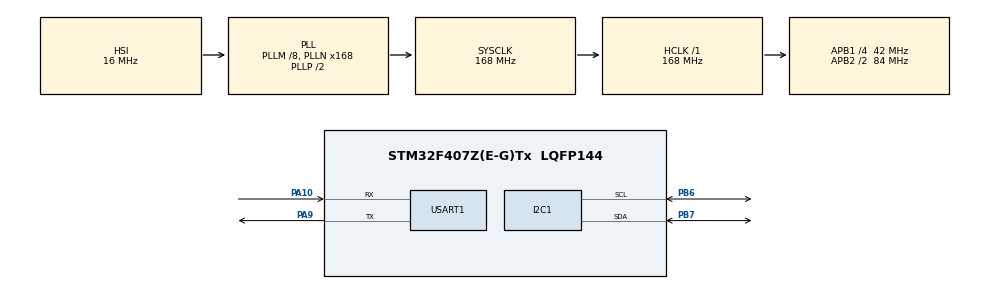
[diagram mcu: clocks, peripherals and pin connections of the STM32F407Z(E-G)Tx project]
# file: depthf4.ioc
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Dma.Request0=USART1_RX
Dma.Request1=USART1_TX
Dma.USART1_RX.0.Direction=DMA_PERIPH_TO_MEMORY
Dma.USART1_RX.0.FIFOMode=DMA_FIFOMODE_DISABLE
Dma.USART1_RX.0.Instance=DMA2_Stream2
Dma.USART1_RX.0.MemDataAlignment=DMA_MDATAALIGN_BYTE
Dma.USART1_RX.0.MemInc=DMA_MINC_ENABLE
Dma.USART1_RX.0.Mode=DMA_NORMAL
Dma.USART1_RX.0.PeriphDataAlignment=DMA_PDATAALIGN_BYTE
Dma.USART1_RX.0.PeriphInc=DMA_PINC_DISABLE
Dma.USART1_RX.0.Priority=DMA_PRIORITY_LOW
Dma.USART1_TX.1.Direction=DMA_MEMORY_TO_PERIPH
Dma.USART1_TX.1.FIFOMode=DMA_FIFOMODE_DISABLE
Dma.USART1_TX.1.Instance=DMA2_Stream7
Dma.USART1_TX.1.MemDataAlignment=DMA_MDATAALIGN_BYTE
Dma.USART1_TX.1.MemInc=DMA_MINC_ENABLE
Dma.USART1_TX.1.Mode=DMA_NORMAL
Dma.USART1_TX.1.PeriphDataAlignment=DMA_PDATAALIGN_BYTE
Dma.USART1_TX.1.PeriphInc=DMA_PINC_DISABLE
Dma.USART1_TX.1.Priority=DMA_PRIORITY_LOW
Mcu.Family=STM32F4
Mcu.Name=STM32F407Z(E-G)Tx
Mcu.Package=LQFP144
NVIC.DMA2_Stream2_IRQn=true\:0\:0\:false\:false\:true\:false\:true\:true
NVIC.DMA2_Stream7_IRQn=true\:0\:0\:false\:false\:true\:false\:true\:true
NVIC.PriorityGroup=NVIC_PRIORITYGROUP_4
NVIC.USART1_IRQn=true\:0\:0\:false\:false\:true\:true\:true\:true
PA10.Mode=Asynchronous
PA10.Signal=USART1_RX
PA13.Mode=Serial_Wire
PA13.Signal=SYS_JTMS-SWDIO
PA14.Mode=Serial_Wire
PA14.Signal=SYS_JTCK-SWCLK
PA9.Mode=Asynchronous
PA9.Signal=USART1_TX
PB6.Mode=I2C
PB6.Signal=I2C1_SCL
PB7.Mode=I2C
PB7.Signal=I2C1_SDA
ProjectManager.HeapSize=0x200
ProjectManager.StackSize=0x400
ProjectManager.TargetToolchain=STM32CubeIDE
RCC.48MHZClocksFreq_Value=84000000
RCC.AHBFreq_Value=168000000
RCC.APB1CLKDivider=RCC_HCLK_DIV4
RCC.APB1Freq_Value=42000000
RCC.APB1TimFreq_Value=84000000
RCC.APB2CLKDivider=RCC_HCLK_DIV2
RCC.APB2Freq_Value=84000000
RCC.APB2TimFreq_Value=168000000
RCC.CortexFreq_Value=168000000
RCC.HCLKFreq_Value=168000000
RCC.HSE_VALUE=25000000
RCC.HSI_VALUE=16000000
RCC.LSE_VALUE=32768
RCC.PLLM=8
RCC.PLLN=168
RCC.SYSCLKFreq_VALUE=168000000
RCC.SYSCLKSource=RCC_SYSCLKSOURCE_PLLCLK
RCC.VCOOutputFreq_Value=336000000
USART1.VirtualMode=VM_ASYNC
board=custom

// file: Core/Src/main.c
/* USER CODE BEGIN Header */
/**
  ******************************************************************************
  * @file           : main.c
  * @brief          : Main program body
  ******************************************************************************
  * @attention
  *
  * Copyright (c) 2026 STMicroelectronics.
  * All rights reserved.
  *
  * This software is licensed under terms that can be found in the LICENSE file
  * in the root directory of this software component.
  * If no LICENSE file comes with this software, it is provided AS-IS.
  *
  ******************************************************************************
  */
/* USER CODE END Header */
#include "main.h"
#include "dma.h"
#include "i2c.h"
#include "usart.h"
#include "gpio.h"

/* USER CODE BEGIN Includes */
#include "ms5837.h"
#include <stdio.h>
/* USER CODE END Includes */

/* USER CODE BEGIN PD */
#define MS5837_REFERENCE_SAMPLES 10U
#define MS5837_OUTPUT_INTERVAL_MS 1000U
#define MS5837_UART_TIMEOUT_MS 100U
/* USER CODE END PD */

void SystemClock_Config(void);

int main(void)
{

  /* MCU Configuration--------------------------------------------------------*/

  /* Reset of all peripherals, Initializes the Flash interface and the Systick. */
  HAL_Init();

  /* Configure the system clock */
  SystemClock_Config();

  /* Initialize all configured peripherals */
  MX_GPIO_Init();
  MX_DMA_Init();
  MX_I2C1_Init();
  MX_USART1_UART_Init();
  /* USER CODE BEGIN 2 */
  uint16_t prom[7] = {0};
  int32_t reference_x100 = 0;
  HAL_StatusTypeDef init_status = MS5837_Init(&hi2c1, prom);
  HAL_StatusTypeDef reference_status = HAL_ERROR;
  char init_buffer[64];
  int init_length;

  if (init_status != HAL_OK)
  {
    init_length = snprintf(
        init_buffer, sizeof(init_buffer),
        "MS5837 INIT status=%u\r\n", (unsigned int)init_status);

    if (init_length > 0 && init_length < (int)sizeof(init_buffer))
    {
      HAL_UART_Transmit(&huart1, (uint8_t *)init_buffer,
                        (uint16_t)init_length, MS5837_UART_TIMEOUT_MS);
    }
  }
  else
  {
    /* Keep the sensor in air during startup: this pressure becomes zero depth. */
    HAL_Delay(1000);
    reference_status = MS5837_ReadReference(
        &hi2c1, prom, MS5837_REFERENCE_SAMPLES, &reference_x100);

    if (reference_status != HAL_OK)
    {
      init_length = snprintf(
          init_buffer, sizeof(init_buffer),
          "MS5837 REF status=%u REF_x100=%ld\r\n",
          (unsigned int)reference_status, (long)reference_x100);

      if (init_length > 0 && init_length < (int)sizeof(init_buffer))
      {
        HAL_UART_Transmit(&huart1, (uint8_t *)init_buffer,
                          (uint16_t)init_length, MS5837_UART_TIMEOUT_MS);
      }
    }
  }
  /* USER CODE END 2 */

  /* Infinite loop */
  /* USER CODE BEGIN WHILE */
  while (1)
  {
    char buffer[96];
    int length;

    if (init_status == HAL_OK && reference_status == HAL_OK)
    {
      uint32_t d1 = 0;
      uint32_t d2 = 0;
      int32_t temperature_x100 = 0;
      int32_t pressure_x100 = 0;

      HAL_StatusTypeDef read_status = MS5837_Read(
          &hi2c1, prom, &d1, &d2, &temperature_x100, &pressure_x100);

      if (read_status == HAL_OK)
      {
        int32_t depth_cm_x100 = MS5837_CalculateDepth(
            pressure_x100, reference_x100);

        /* Px100: mbar * 100 (Pa); Dx100: cm * 100. */
        length = snprintf(
            buffer, sizeof(buffer), "Px100=%ld Dx100=%ld\r\n",
            (long)pressure_x100, (long)depth_cm_x100);
      }
      else
      {
        length = snprintf(
            buffer, sizeof(buffer), "MS5837 READ FAIL status=%u\r\n",
            (unsigned int)read_status);
      }
    }
    else
    {
      length = snprintf(
          buffer, sizeof(buffer), "NOT READY init=%u ref=%u\r\n",
          (unsigned int)init_status, (unsigned int)reference_status);
    }

    if (length > 0 && length < (int)sizeof(buffer))
    {
      /* Blocking transmission, even though USART1 DMA is configured. */
      HAL_UART_Transmit(&huart1, (uint8_t *)buffer,
                        (uint16_t)length, MS5837_UART_TIMEOUT_MS);
    }

    HAL_Delay(MS5837_OUTPUT_INTERVAL_MS);
    /* USER CODE END WHILE */

  }
}

void SystemClock_Config(void)
{
  RCC_OscInitTypeDef RCC_OscInitStruct = {0};
  RCC_ClkInitTypeDef RCC_ClkInitStruct = {0};

  /** Configure the main internal regulator output voltage
  */
  __HAL_RCC_PWR_CLK_ENABLE();
  __HAL_PWR_VOLTAGESCALING_CONFIG(PWR_REGULATOR_VOLTAGE_SCALE1);

  /** Initializes the RCC Oscillators according to the specified parameters
  * in the RCC_OscInitTypeDef structure.
  */
  RCC_OscInitStruct.OscillatorType = RCC_OSCILLATORTYPE_HSI;
  RCC_OscInitStruct.HSIState = RCC_HSI_ON;
  RCC_OscInitStruct.HSICalibrationValue = RCC_HSICALIBRATION_DEFAULT;
  RCC_OscInitStruct.PLL.PLLState = RCC_PLL_ON;
  RCC_OscInitStruct.PLL.PLLSource = RCC_PLLSOURCE_HSI;
  RCC_OscInitStruct.PLL.PLLM = 8;
  RCC_OscInitStruct.PLL.PLLN = 168;
  RCC_OscInitStruct.PLL.PLLP = RCC_PLLP_DIV2;
  RCC_OscInitStruct.PLL.PLLQ = 4;
  if (HAL_RCC_OscConfig(&RCC_OscInitStruct) != HAL_OK)
  {
    Error_Handler();
  }

  /** Initializes the CPU, AHB and APB buses clocks
  */
  RCC_ClkInitStruct.ClockType = RCC_CLOCKTYPE_HCLK|RCC_CLOCKTYPE_SYSCLK
                              |RCC_CLOCKTYPE_PCLK1|RCC_CLOCKTYPE_PCLK2;
  RCC_ClkInitStruct.SYSCLKSource = RCC_SYSCLKSOURCE_PLLCLK;
  RCC_ClkInitStruct.AHBCLKDivider = RCC_SYSCLK_DIV1;
  RCC_ClkInitStruct.APB1CLKDivider = RCC_HCLK_DIV4;
  RCC_ClkInitStruct.APB2CLKDivider = RCC_HCLK_DIV2;

  if (HAL_RCC_ClockConfig(&RCC_ClkInitStruct, FLASH_LATENCY_5) != HAL_OK)
  {
    Error_Handler();
  }
}

void Error_Handler(void)
{
  __disable_irq();
  while (1)
  {
  }
}
